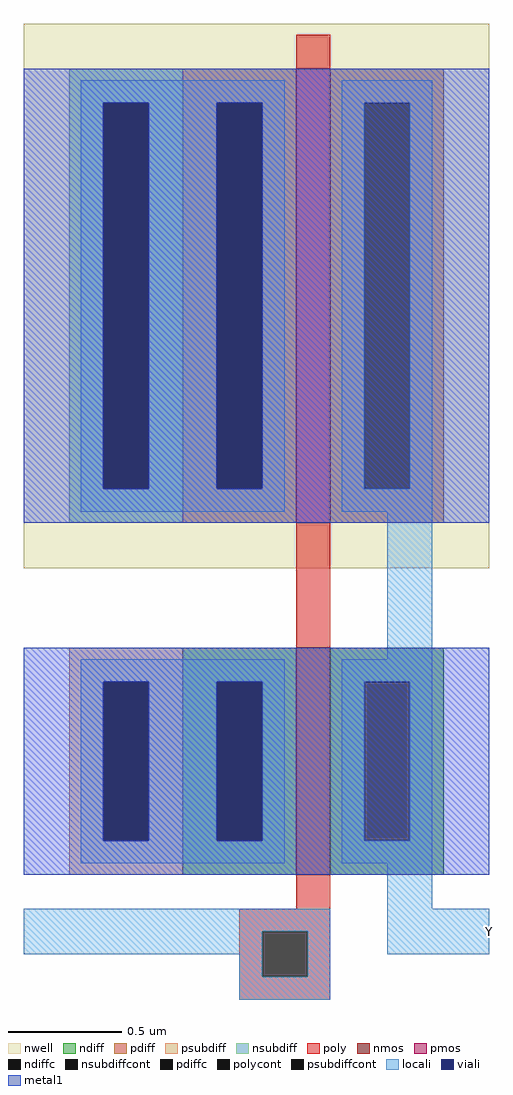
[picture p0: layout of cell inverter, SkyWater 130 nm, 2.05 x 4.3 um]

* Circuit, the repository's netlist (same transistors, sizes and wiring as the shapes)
* SPICE3 file created from inverter.ext - technology: sky130A

.subckt inverter A Y VP VN
X0 Y A VP VP sky130_fd_pr__pfet_01v8 ad=1 pd=5 as=1 ps=5 w=2 l=0.15
X1 Y A VN VN sky130_fd_pr__nfet_01v8 ad=0.5 pd=3 as=0.5 ps=3 w=1 l=0.15
.ends

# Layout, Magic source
magic
tech sky130A
<< nwell >>
rect -120 135 85 375
<< nmos >>
rect 0 0 15 100
<< pmos >>
rect 0 155 15 355
<< ndiff >>
rect -50 85 0 100
rect -50 15 -35 85
rect -15 15 0 85
rect -50 0 0 15
rect 15 85 65 100
rect 15 15 30 85
rect 50 15 65 85
rect 15 0 65 15
<< pdiff >>
rect -50 340 0 355
rect -50 170 -35 340
rect -15 170 0 340
rect -50 155 0 170
rect 15 340 65 355
rect 15 170 30 340
rect 50 170 65 340
rect 15 155 65 170
<< ndiffc >>
rect -35 15 -15 85
rect 30 15 50 85
<< pdiffc >>
rect -35 170 -15 340
rect 30 170 50 340
<< psubdiff >>
rect -100 85 -50 100
rect -100 15 -85 85
rect -65 15 -50 85
rect -100 0 -50 15
<< nsubdiff >>
rect -100 340 -50 355
rect -100 170 -85 340
rect -65 170 -50 340
rect -100 155 -50 170
<< psubdiffcont >>
rect -85 15 -65 85
<< nsubdiffcont >>
rect -85 170 -65 340
<< poly >>
rect 0 355 15 370
rect 0 100 15 155
rect 0 -15 15 0
rect -25 -25 15 -15
rect -25 -45 -15 -25
rect 5 -45 15 -25
rect -25 -55 15 -45
<< polycont >>
rect -15 -45 5 -25
<< locali >>
rect -95 340 -5 350
rect -95 170 -85 340
rect -65 170 -35 340
rect -15 170 -5 340
rect -95 160 -5 170
rect 20 340 60 350
rect 20 170 30 340
rect 50 170 60 340
rect 20 160 60 170
rect 40 95 60 160
rect -95 85 -5 95
rect -95 15 -85 85
rect -65 15 -35 85
rect -15 15 -5 85
rect -95 5 -5 15
rect 20 85 60 95
rect 20 15 30 85
rect 50 15 60 85
rect 20 5 60 15
rect 40 -15 60 5
rect -120 -25 15 -15
rect -120 -35 -15 -25
rect -25 -45 -15 -35
rect 5 -45 15 -25
rect 40 -35 85 -15
rect -25 -55 15 -45
<< viali >>
rect -85 170 -65 340
rect -35 170 -15 340
rect -85 15 -65 85
rect -35 15 -15 85
<< metal1 >>
rect -120 340 85 355
rect -120 170 -85 340
rect -65 170 -35 340
rect -15 170 85 340
rect -120 155 85 170
rect -120 85 85 100
rect -120 15 -85 85
rect -65 15 -35 85
rect -15 15 85 85
rect -120 0 85 15
<< labels >>
rlabel locali 85 -25 85 -25 3 Y
port 2 e
<< end >>
